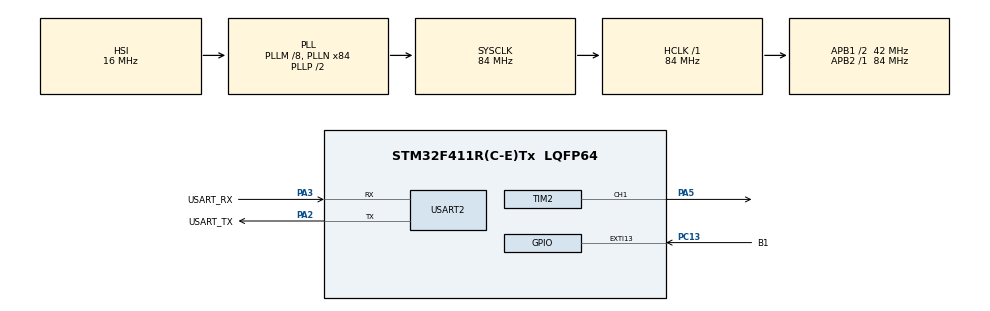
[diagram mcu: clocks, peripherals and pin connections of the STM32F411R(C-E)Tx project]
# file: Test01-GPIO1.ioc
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Mcu.Family=STM32F4
Mcu.Name=STM32F411R(C-E)Tx
Mcu.Package=LQFP64
NVIC.EXTI15_10_IRQn=true\:0\:0\:false\:false\:true\:true\:true\:true
NVIC.PriorityGroup=NVIC_PRIORITYGROUP_0
NVIC.TIM3_IRQn=true\:0\:0\:false\:false\:true\:true\:true\:true
PA13.GPIO_Label=TMS
PA13.Mode=Serial_Wire
PA13.Signal=SYS_JTMS-SWDIO
PA14.GPIO_Label=TCK
PA14.Mode=Serial_Wire
PA14.Signal=SYS_JTCK-SWCLK
PA2.GPIO_Label=USART_TX
PA2.Mode=Asynchronous
PA2.Signal=USART2_TX
PA3.GPIO_Label=USART_RX
PA3.Mode=Asynchronous
PA3.Signal=USART2_RX
PA5.Signal=S_TIM2_CH1_ETR
PB3.GPIO_Label=SWO
PB3.Signal=SYS_JTDO-SWO
PC13-ANTI_TAMP.GPIO_Label=B1
PC13-ANTI_TAMP.GPIO_ModeDefaultEXTI=GPIO_MODE_IT_FALLING
PC13-ANTI_TAMP.Signal=GPXTI13
PC14-OSC32_IN.Mode=LSE-External-Oscillator
PC14-OSC32_IN.Signal=RCC_OSC32_IN
PC15-OSC32_OUT.Mode=LSE-External-Oscillator
PC15-OSC32_OUT.Signal=RCC_OSC32_OUT
PH0\ -\ OSC_IN.Mode=HSE-External-Clock-Source
PH0\ -\ OSC_IN.Signal=RCC_OSC_IN
PH1\ -\ OSC_OUT.Mode=HSE-External-Clock-Source
PH1\ -\ OSC_OUT.Signal=RCC_OSC_OUT
ProjectManager.HeapSize=0x200
ProjectManager.StackSize=0x400
ProjectManager.TargetToolchain=STM32CubeIDE
RCC.48MHZClocksFreq_Value=42000000
RCC.AHBFreq_Value=84000000
RCC.APB1CLKDivider=RCC_HCLK_DIV2
RCC.APB1Freq_Value=42000000
RCC.APB1TimFreq_Value=84000000
RCC.APB2Freq_Value=84000000
RCC.APB2TimFreq_Value=84000000
RCC.CortexFreq_Value=84000000
RCC.FLatency-AdvancedSettings=FLASH_LATENCY_2
RCC.HCLKFreq_Value=84000000
RCC.HSE_VALUE=8000000
RCC.HSI_VALUE=16000000
RCC.PLLM=8
RCC.PLLN=84
RCC.SYSCLKFreq_VALUE=84000000
RCC.SYSCLKSource=RCC_SYSCLKSOURCE_PLLCLK
RCC.VCOOutputFreq_Value=168000000
SH.S_TIM2_CH1_ETR.0=TIM2_CH1,PWM Generation1 CH1
TIM2.Channel-PWM\ Generation1\ CH1=TIM_CHANNEL_1
TIM2.Period=1000-1
TIM2.Prescaler=84-1
TIM3.AutoReloadPreload=TIM_AUTORELOAD_PRELOAD_DISABLE
TIM3.ClockDivision=TIM_CLOCKDIVISION_DIV1
TIM3.Period=10000-1
TIM3.Prescaler=84-1
TIM5.Period=4294967295
TIM5.Prescaler=84-1
USART2.VirtualMode=VM_ASYNC
VP_TIM2_VS_ClockSourceINT.Mode=Internal
VP_TIM3_VS_ClockSourceINT.Mode=Internal
VP_TIM5_VS_ClockSourceINT.Mode=Internal
board=NUCLEO-F411RE

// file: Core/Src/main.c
/* USER CODE BEGIN Header */
/**
  ******************************************************************************
  * @file           : main.c
  * @brief          : Main program body
  ******************************************************************************
  * @attention
  *
  * Copyright (c) 2023 STMicroelectronics.
  * All rights reserved.
  *
  * This software is licensed under terms that can be found in the LICENSE file
  * in the root directory of this software component.
  * If no LICENSE file comes with this software, it is provided AS-IS.
  *
  ******************************************************************************
  */
/* USER CODE END Header */
#include "main.h"

TIM_HandleTypeDef htim2;
TIM_HandleTypeDef htim3;
TIM_HandleTypeDef htim5;

UART_HandleTypeDef huart2;

void SystemClock_Config(void);
static void MX_GPIO_Init(void);
static void MX_USART2_UART_Init(void);
static void MX_TIM3_Init(void);
static void MX_TIM5_Init(void);
static void MX_TIM2_Init(void);

/* USER CODE BEGIN 0 */
#define STEP 10
int val=0;
int gap=0;  // val  AAR
int flag = 1;
void HAL_GPIO_EXTI_Callback(uint16_t GPIO_Pin)
{
  if(val++>STEP) val=0;
//  val = HAL_GPIO_ReadPin(B1_GPIO_Port, B1_Pin);
//  if(r==0) val = 0; else val = 1;

//  if(val == 0) val = 1; else val = 0;
//  if(val++ > 4) val = 0 ;
//  flag = 1;
//  val= !val;
}
int cnt = 0;
void HAL_TIM_PeriodElapsedCallback(TIM_HandleTypeDef *htim)
{
  //HAL_GPIO_TogglePin(LD2_GPIO_Port, LD2_Pin);
  printf("\033[10;30HTimer3...%d\r\n",cnt++);
}

void myDelay(int interval)  // microsecond delay, interval : microsecond
{
//  volatile int start = htim5.Instance->CNT;
  htim5.Instance->CNT=0;
  while(1)
  {
    //volatile int cur = htim5.Instance->CNT;
    if(htim5.Instance->CNT > interval) return;
  }
}
int __io_putchar(int ch)
{
    HAL_UART_Transmit(&huart2, &ch, 1, 10);
    return ch;
}
//int __io_getchar(void)
/* USER CODE END 0 */

int main(void)
{

  /* MCU Configuration--------------------------------------------------------*/

  /* Reset of all peripherals, Initializes the Flash interface and the Systick. */
  HAL_Init();

  /* Configure the system clock */
  SystemClock_Config();

  /* Initialize all configured peripherals */
  MX_GPIO_Init();
  MX_USART2_UART_Init();
  MX_TIM3_Init();
  MX_TIM5_Init();
  MX_TIM2_Init();
  /* USER CODE BEGIN 2 */

  printf("\033[1JProgram Started......!\r\n",0x1b);

//  HAL_TIM_Base_Start_IT(&htim3);
  gap = htim2.Instance->ARR/STEP;
  HAL_TIM_Base_Start(&htim5);
  HAL_TIM_PWM_Start(&htim2, TIM_CHANNEL_1);
  /* USER CODE END 2 */

  /* Infinite loop */
  /* USER CODE BEGIN WHILE */
  int ccr = 0;
  while (1)
  {
    /* USER CODE END WHILE */

    /* USER CODE BEGIN 3 */
    htim2.Instance->CCR1 = val * gap;
//    htim2.Instance->CCR1 = ccr++;
//    if(ccr > htim2.Instance -> ARR) ccr=0;
//    myDelay(10000);
//    if(flag==1)
//    for(int i = 0; i<val; i++)
//    {
//        HAL_GPIO_WritePin(LD2_GPIO_Port, LD2_Pin, 1);   // LED On  1 = high
//        HAL_Delay(200);     //HAL_Delay(1000) = 1000 ms = 1 sec
//        HAL_GPIO_WritePin(LD2_GPIO_Port, LD2_Pin, 0);   // LED Off 0 = low
//        HAL_Delay(200);
//        flag=0;
//    }
//    if(val == 0)
//    {
//      HAL_GPIO_TogglePin(LD2_GPIO_Port, LD2_Pin);
//      HAL_Delay(200);
//    }
//    else  HAL_GPIO_WritePin(LD2_GPIO_Port, LD2_Pin, 0);

  }
  /* USER CODE END 3 */
}

void SystemClock_Config(void)
{
  RCC_OscInitTypeDef RCC_OscInitStruct = {0};
  RCC_ClkInitTypeDef RCC_ClkInitStruct = {0};

  /** Configure the main internal regulator output voltage
  */
  __HAL_RCC_PWR_CLK_ENABLE();
  __HAL_PWR_VOLTAGESCALING_CONFIG(PWR_REGULATOR_VOLTAGE_SCALE1);

  /** Initializes the RCC Oscillators according to the specified parameters
  * in the RCC_OscInitTypeDef structure.
  */
  RCC_OscInitStruct.OscillatorType = RCC_OSCILLATORTYPE_HSI;
  RCC_OscInitStruct.HSIState = RCC_HSI_ON;
  RCC_OscInitStruct.HSICalibrationValue = RCC_HSICALIBRATION_DEFAULT;
  RCC_OscInitStruct.PLL.PLLState = RCC_PLL_ON;
  RCC_OscInitStruct.PLL.PLLSource = RCC_PLLSOURCE_HSI;
  RCC_OscInitStruct.PLL.PLLM = 8;
  RCC_OscInitStruct.PLL.PLLN = 84;
  RCC_OscInitStruct.PLL.PLLP = RCC_PLLP_DIV2;
  RCC_OscInitStruct.PLL.PLLQ = 4;
  if (HAL_RCC_OscConfig(&RCC_OscInitStruct) != HAL_OK)
  {
    Error_Handler();
  }

  /** Initializes the CPU, AHB and APB buses clocks
  */
  RCC_ClkInitStruct.ClockType = RCC_CLOCKTYPE_HCLK|RCC_CLOCKTYPE_SYSCLK
                              |RCC_CLOCKTYPE_PCLK1|RCC_CLOCKTYPE_PCLK2;
  RCC_ClkInitStruct.SYSCLKSource = RCC_SYSCLKSOURCE_PLLCLK;
  RCC_ClkInitStruct.AHBCLKDivider = RCC_SYSCLK_DIV1;
  RCC_ClkInitStruct.APB1CLKDivider = RCC_HCLK_DIV2;
  RCC_ClkInitStruct.APB2CLKDivider = RCC_HCLK_DIV1;

  if (HAL_RCC_ClockConfig(&RCC_ClkInitStruct, FLASH_LATENCY_2) != HAL_OK)
  {
    Error_Handler();
  }
}

static void MX_TIM2_Init(void)
{

  TIM_ClockConfigTypeDef sClockSourceConfig = {0};
  TIM_MasterConfigTypeDef sMasterConfig = {0};
  TIM_OC_InitTypeDef sConfigOC = {0};

  htim2.Instance = TIM2;
  htim2.Init.Prescaler = 84-1;
  htim2.Init.CounterMode = TIM_COUNTERMODE_UP;
  htim2.Init.Period = 1000-1;
  htim2.Init.ClockDivision = TIM_CLOCKDIVISION_DIV1;
  htim2.Init.AutoReloadPreload = TIM_AUTORELOAD_PRELOAD_DISABLE;
  if (HAL_TIM_Base_Init(&htim2) != HAL_OK)
  {
    Error_Handler();
  }
  sClockSourceConfig.ClockSource = TIM_CLOCKSOURCE_INTERNAL;
  if (HAL_TIM_ConfigClockSource(&htim2, &sClockSourceConfig) != HAL_OK)
  {
    Error_Handler();
  }
  if (HAL_TIM_PWM_Init(&htim2) != HAL_OK)
  {
    Error_Handler();
  }
  sMasterConfig.MasterOutputTrigger = TIM_TRGO_RESET;
  sMasterConfig.MasterSlaveMode = TIM_MASTERSLAVEMODE_DISABLE;
  if (HAL_TIMEx_MasterConfigSynchronization(&htim2, &sMasterConfig) != HAL_OK)
  {
    Error_Handler();
  }
  sConfigOC.OCMode = TIM_OCMODE_PWM1;
  sConfigOC.Pulse = 0;
  sConfigOC.OCPolarity = TIM_OCPOLARITY_HIGH;
  sConfigOC.OCFastMode = TIM_OCFAST_DISABLE;
  if (HAL_TIM_PWM_ConfigChannel(&htim2, &sConfigOC, TIM_CHANNEL_1) != HAL_OK)
  {
    Error_Handler();
  }
  HAL_TIM_MspPostInit(&htim2);

}

static void MX_TIM3_Init(void)
{

  TIM_ClockConfigTypeDef sClockSourceConfig = {0};
  TIM_MasterConfigTypeDef sMasterConfig = {0};

  htim3.Instance = TIM3;
  htim3.Init.Prescaler = 84-1;
  htim3.Init.CounterMode = TIM_COUNTERMODE_UP;
  htim3.Init.Period = 10000-1;
  htim3.Init.ClockDivision = TIM_CLOCKDIVISION_DIV1;
  htim3.Init.AutoReloadPreload = TIM_AUTORELOAD_PRELOAD_DISABLE;
  if (HAL_TIM_Base_Init(&htim3) != HAL_OK)
  {
    Error_Handler();
  }
  sClockSourceConfig.ClockSource = TIM_CLOCKSOURCE_INTERNAL;
  if (HAL_TIM_ConfigClockSource(&htim3, &sClockSourceConfig) != HAL_OK)
  {
    Error_Handler();
  }
  sMasterConfig.MasterOutputTrigger = TIM_TRGO_RESET;
  sMasterConfig.MasterSlaveMode = TIM_MASTERSLAVEMODE_DISABLE;
  if (HAL_TIMEx_MasterConfigSynchronization(&htim3, &sMasterConfig) != HAL_OK)
  {
    Error_Handler();
  }

}

static void MX_TIM5_Init(void)
{

  TIM_ClockConfigTypeDef sClockSourceConfig = {0};
  TIM_MasterConfigTypeDef sMasterConfig = {0};

  htim5.Instance = TIM5;
  htim5.Init.Prescaler = 84-1;
  htim5.Init.CounterMode = TIM_COUNTERMODE_UP;
  htim5.Init.Period = 4294967295;
  htim5.Init.ClockDivision = TIM_CLOCKDIVISION_DIV1;
  htim5.Init.AutoReloadPreload = TIM_AUTORELOAD_PRELOAD_DISABLE;
  if (HAL_TIM_Base_Init(&htim5) != HAL_OK)
  {
    Error_Handler();
  }
  sClockSourceConfig.ClockSource = TIM_CLOCKSOURCE_INTERNAL;
  if (HAL_TIM_ConfigClockSource(&htim5, &sClockSourceConfig) != HAL_OK)
  {
    Error_Handler();
  }
  sMasterConfig.MasterOutputTrigger = TIM_TRGO_RESET;
  sMasterConfig.MasterSlaveMode = TIM_MASTERSLAVEMODE_DISABLE;
  if (HAL_TIMEx_MasterConfigSynchronization(&htim5, &sMasterConfig) != HAL_OK)
  {
    Error_Handler();
  }

}

static void MX_USART2_UART_Init(void)
{

  huart2.Instance = USART2;
  huart2.Init.BaudRate = 115200;
  huart2.Init.WordLength = UART_WORDLENGTH_8B;
  huart2.Init.StopBits = UART_STOPBITS_1;
  huart2.Init.Parity = UART_PARITY_NONE;
  huart2.Init.Mode = UART_MODE_TX_RX;
  huart2.Init.HwFlowCtl = UART_HWCONTROL_NONE;
  huart2.Init.OverSampling = UART_OVERSAMPLING_16;
  if (HAL_UART_Init(&huart2) != HAL_OK)
  {
    Error_Handler();
  }

}

static void MX_GPIO_Init(void)
{
  GPIO_InitTypeDef GPIO_InitStruct = {0};

  /* GPIO Ports Clock Enable */
  __HAL_RCC_GPIOC_CLK_ENABLE();
  __HAL_RCC_GPIOH_CLK_ENABLE();
  __HAL_RCC_GPIOA_CLK_ENABLE();
  __HAL_RCC_GPIOB_CLK_ENABLE();

  /*Configure GPIO pin : B1_Pin */
  GPIO_InitStruct.Pin = B1_Pin;
  GPIO_InitStruct.Mode = GPIO_MODE_IT_FALLING;
  GPIO_InitStruct.Pull = GPIO_NOPULL;
  HAL_GPIO_Init(B1_GPIO_Port, &GPIO_InitStruct);

  /* EXTI interrupt init*/
  HAL_NVIC_SetPriority(EXTI15_10_IRQn, 0, 0);
  HAL_NVIC_EnableIRQ(EXTI15_10_IRQn);

}

void Error_Handler(void)
{
  __disable_irq();
  while (1)
  {
  }
}
